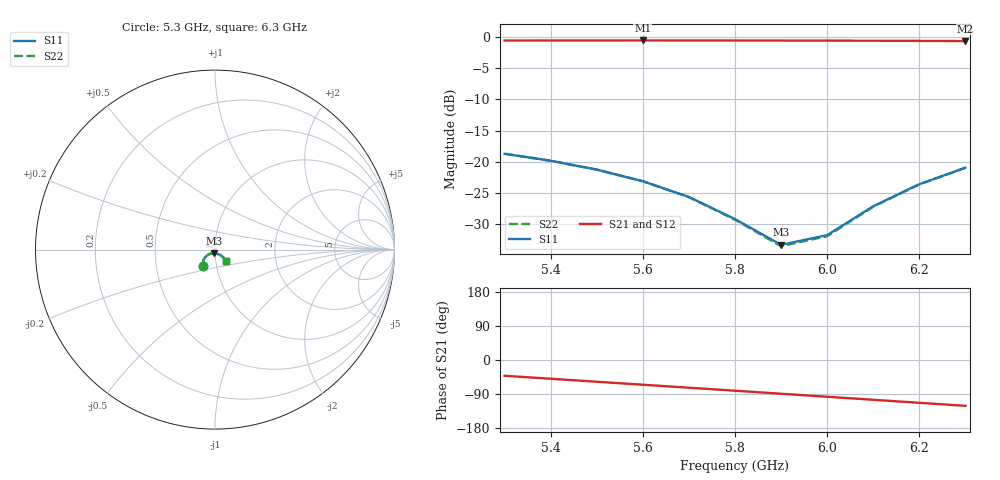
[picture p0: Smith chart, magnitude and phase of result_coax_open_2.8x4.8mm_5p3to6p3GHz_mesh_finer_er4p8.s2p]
! PCB epsilon-r=4.8, loss tangent 0.02; fixed finer mesh
! 2.8 x 4.8 mm L2 windows; L3/Bottom intact; coax reference planes
! 11 direct FEM points; connectors included
# Hz S RI R 50
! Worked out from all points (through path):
!   11 points, 5.3 GHz to 6.3 GHz, reference 50 ohm
!   highest |S21| = -0.54 dB at 5.6 GHz (marker M1); lowest = -0.6 dB at 6.3 GHz (marker M2)
!   group delay of S21, straight-line fit = 220 ps
!   lowest |S11| = -33.4 dB at 5.9 GHz (marker M3), VSWR 1.04, Z = 49.2 - j1.98 ohm
!   |S11| at or under -10 dB: start of sweep to end of sweep
!   |S22| runs from -33.6 to -18.7 dB; largest |S21 - S12| = 1e-12
5.3e9  -0.0684 -0.0933  0.7014 -0.6246  0.7014 -0.6246  -0.0679 -0.0936
5.4e9  -0.0685 -0.0751  0.6101 -0.7147  0.6101 -0.7147  -0.0682 -0.0753
5.5e9  -0.064 -0.0579  0.5069 -0.7917  0.5069 -0.7917  -0.0638 -0.058
5.6e9  -0.055 -0.0427  0.3936 -0.8539  0.3936 -0.8539  -0.0548 -0.0427
5.7e9  -0.042 -0.0308  0.2724 -0.8997  0.2724 -0.8997  -0.0419 -0.0306
5.8e9  -0.0258 -0.023  0.1457 -0.9282  0.1457 -0.9282  -0.0257 -0.0226
5.9e9  -0.00747 -0.0201  0.0159 -0.9386  0.0159 -0.9386  -0.00733 -0.0196
6e9  0.0118 -0.0228  -0.1142 -0.9303  -0.1142 -0.9303  0.012 -0.0222
6.1e9  0.0306 -0.0313  -0.2419 -0.9036  -0.2419 -0.9036  0.031 -0.0305
6.2e9  0.0476 -0.0455  -0.3644 -0.8588  -0.3644 -0.8588  0.0482 -0.0446
6.3e9  0.0614 -0.0649  -0.479 -0.797  -0.479 -0.797  0.0621 -0.064
